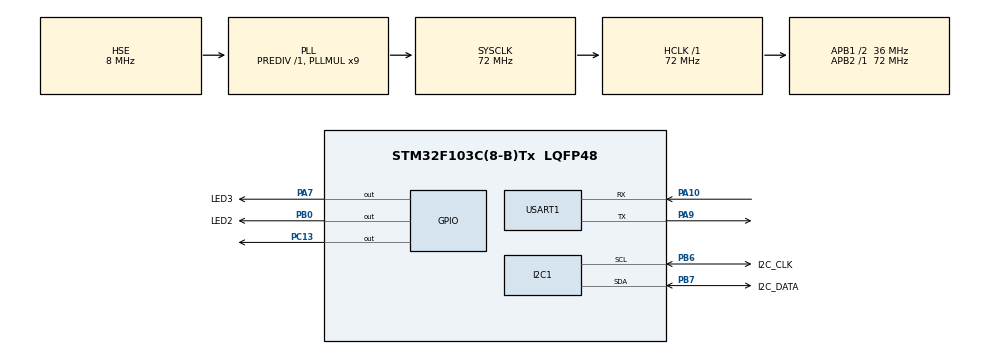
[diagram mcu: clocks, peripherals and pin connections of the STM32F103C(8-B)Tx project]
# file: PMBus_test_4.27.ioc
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Mcu.Family=STM32F1
Mcu.Name=STM32F103C(8-B)Tx
Mcu.Package=LQFP48
NVIC.PriorityGroup=NVIC_PRIORITYGROUP_4
NVIC.USART1_IRQn=true\:0\:0\:false\:false\:true\:true\:true\:true
PA10.Mode=Asynchronous
PA10.Signal=USART1_RX
PA13.Mode=Serial_Wire
PA13.Signal=SYS_JTMS-SWDIO
PA14.Mode=Serial_Wire
PA14.Signal=SYS_JTCK-SWCLK
PA7.GPIO_Label=LED3
PA7.GPIO_Speed=GPIO_SPEED_FREQ_HIGH
PA7.PinState=GPIO_PIN_RESET
PA7.Signal=GPIO_Output
PA9.Mode=Asynchronous
PA9.Signal=USART1_TX
PB0.GPIO_Label=LED2
PB0.GPIO_Speed=GPIO_SPEED_FREQ_HIGH
PB0.Signal=GPIO_Output
PB6.GPIO_Label=I2C_CLK
PB6.Mode=I2C
PB6.Signal=I2C1_SCL
PB7.GPIO_Label=I2C_DATA
PB7.Mode=I2C
PB7.Signal=I2C1_SDA
PC13-TAMPER-RTC.GPIO_Speed=GPIO_SPEED_FREQ_HIGH
PC13-TAMPER-RTC.PinState=GPIO_PIN_RESET
PC13-TAMPER-RTC.Signal=GPIO_Output
PD0-OSC_IN.Mode=HSE-External-Oscillator
PD0-OSC_IN.Signal=RCC_OSC_IN
PD1-OSC_OUT.Mode=HSE-External-Oscillator
PD1-OSC_OUT.Signal=RCC_OSC_OUT
ProjectManager.HeapSize=0x200
ProjectManager.StackSize=0x400
ProjectManager.TargetToolchain=MDK-ARM V5.32
RCC.AHBFreq_Value=72000000
RCC.APB1CLKDivider=RCC_HCLK_DIV2
RCC.APB1Freq_Value=36000000
RCC.APB1TimFreq_Value=72000000
RCC.APB2Freq_Value=72000000
RCC.APB2TimFreq_Value=72000000
RCC.HCLKFreq_Value=72000000
RCC.PLLMUL=RCC_PLL_MUL9
RCC.PLLSourceVirtual=RCC_PLLSOURCE_HSE
RCC.SYSCLKFreq_VALUE=72000000
RCC.SYSCLKSource=RCC_SYSCLKSOURCE_PLLCLK
RCC.USBFreq_Value=72000000
USART1.VirtualMode=VM_ASYNC
board=custom

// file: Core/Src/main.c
/* USER CODE BEGIN Header */
/**
  ******************************************************************************
  * @file           : main.c
  * @brief          : Main program body
  ******************************************************************************
  * @attention
  *
  * Copyright (c) 2025 STMicroelectronics.
  * All rights reserved.
  *
  * This software is licensed under terms that can be found in the LICENSE file
  * in the root directory of this software component.
  * If no LICENSE file comes with this software, it is provided AS-IS.
  *
  ******************************************************************************
  */
/* USER CODE END Header */
#include "main.h"
#include "i2c.h"
#include "usart.h"
#include "gpio.h"

/* USER CODE BEGIN Includes */
#include <stdio.h>
#include <math.h>
#include <string.h>
/* USER CODE END Includes */

/* USER CODE BEGIN PTD */
// 电源数据结构体
typedef struct {
  float voltage;  // 电压(V)
  float current;  // 电流(A)
  float power;    // 功率(W)
  uint8_t valid;  // 数据有效标志
} PowerData_t;
/* USER CODE END PTD */

/* USER CODE BEGIN PD */
#define PMBUS_ADDR 0x60        // PMBus设备地址
#define MAX_RETRIES 3          // 最大重试次数
#define PMBUS_TIMEOUT 100      // 超时时间(ms)

// PMBus标准命令
#define PMBUS_CMD_VOUT_MODE   0x20
#define PMBUS_CMD_READ_VOUT   0x88
#define PMBUS_CMD_READ_IOUT   0x8D
#define PMBUS_CMD_READ_POUT   0x96
/* USER CODE END PD */

/* USER CODE BEGIN PV */
//I2C_HandleTypeDef hi2c1;  // I2C句柄
/* USER CODE END PV */

void SystemClock_Config(void);
/* USER CODE BEGIN PFP */
// 函数声明
int fputc(int ch, FILE *f);
void PMBus_ScanDevices(void);
HAL_StatusTypeDef PMBus_ReadWord(uint8_t devAddr, uint8_t command, uint16_t *data);
float PMBus_ReadVout(uint8_t devAddr);
float PMBus_ReadIout(uint8_t devAddr);
PowerData_t PMBus_ReadPowerData(uint8_t devAddr);
/* USER CODE END PFP */

/* USER CODE BEGIN 0 */
//重定向printf
int fputc(int ch,FILE *f)
{
  uint8_t temp[1]={ch};
  HAL_UART_Transmit(&huart1,temp,1,2);
  return ch;
}

/**
  * @brief  扫描I2C总线上的设备
  */
void PMBus_ScanDevices(void)
{
  uint8_t i, ret;
  printf("I2C Device Scan:\r\n");

  for(i=1; i<128; i++)
  {
    ret = HAL_I2C_IsDeviceReady(&hi2c1, (uint16_t)(i<<1), 3, 5);
    if(ret == HAL_OK)
    {
      printf("Device found at 0x%02X\r\n", i);
    }
  }
}

/**
  * @brief  从PMBus设备读取一个字(16位)
  * @param  devAddr: 设备地址(7位)
  * @param  command: PMBus命令
  * @param  data: 存放读取数据的指针
  * @retval HAL状态
  */
HAL_StatusTypeDef PMBus_ReadWord(uint8_t devAddr, uint8_t command, uint16_t *data)
{
  uint8_t buffer[2];
  HAL_StatusTypeDef status;

  status = HAL_I2C_Master_Transmit(&hi2c1, devAddr << 1, &command, 1, PMBUS_TIMEOUT);
  if(status != HAL_OK)
  return status;

  status = HAL_I2C_Master_Receive(&hi2c1, devAddr << 1, buffer, 2, PMBUS_TIMEOUT);
  if(status == HAL_OK)
  {
    *data = (uint16_t)((buffer[1] << 8) | buffer[0]);
  }
  return status;
}

/**
  * @brief  读取输出电压
  * @param  devAddr: 设备地址(7位)
  * @retval 输出电压(V)，失败返回-1.0
  */
 float PMBus_ReadVout(uint8_t devAddr)
 {
   uint16_t raw;
   uint8_t mode;
   uint8_t retry = MAX_RETRIES;

   while(retry--)
   {
     if(HAL_I2C_Mem_Read(&hi2c1, devAddr << 1, PMBUS_CMD_VOUT_MODE,
                        I2C_MEMADD_SIZE_8BIT, &mode, 1, PMBUS_TIMEOUT) == HAL_OK)
     {
       if(PMBus_ReadWord(devAddr, PMBUS_CMD_READ_VOUT, &raw) == HAL_OK)
       {
         if(mode & 0x40)
         { // 线性格式
           int exponent = (int8_t)(mode & 0x1F) - 24;
           return raw * powf(2.0f, (float)exponent);
         }
       }
     }
     HAL_Delay(10);
   }
   return -1.0f;
 }

/**
  * @brief  读取输出电流
  * @param  devAddr: 设备地址(7位)
  * @retval 输出电流(A)，失败返回-1.0
  */
 float PMBus_ReadIout(uint8_t devAddr)
 {
   uint16_t raw;
   uint8_t mode;
   uint8_t retry = MAX_RETRIES;

   while(retry--)
   {
     if(HAL_I2C_Mem_Read(&hi2c1, devAddr << 1, PMBUS_CMD_VOUT_MODE,
                        I2C_MEMADD_SIZE_8BIT, &mode, 1, PMBUS_TIMEOUT) == HAL_OK)
     {
       if(PMBus_ReadWord(devAddr, PMBUS_CMD_READ_IOUT, &raw) == HAL_OK)
       {
         if(mode & 0x40)
         { // 线性格式
           int exponent = (int8_t)(mode & 0x1F) - 24;
           return raw * powf(2.0f, (float)exponent);
         }
       }
     }
     HAL_Delay(10);
   }
   return -1.0f;
 }

/**
  * @brief  读取完整的电源数据(电压、电流、功率)
  * @param  devAddr: 设备地址(7位)
  * @retval PowerData_t结构体
  */
 PowerData_t PMBus_ReadPowerData(uint8_t devAddr)
 {
   PowerData_t data = {0};
   uint16_t raw;
   uint8_t mode;
   uint8_t retry = MAX_RETRIES;

   // 读取模式
   while(retry--)
   {
     if(HAL_I2C_Mem_Read(&hi2c1, devAddr << 1, PMBUS_CMD_VOUT_MODE,
                        I2C_MEMADD_SIZE_8BIT, &mode, 1, PMBUS_TIMEOUT) == HAL_OK)
     {
       break;
     }
     HAL_Delay(10);
   }
   if(retry == 0) return data;

   // 读取电压
   retry = MAX_RETRIES;
   while(retry--)
   {
     if(PMBus_ReadWord(devAddr, PMBUS_CMD_READ_VOUT, &raw) == HAL_OK)
     {//线性格式
       if(mode & 0x40)
       {
         int exponent = (int8_t)(mode & 0x1F) - 24;
         data.voltage = raw * powf(2.0f, (float)exponent);
         break;
       }
     }
     HAL_Delay(10);
   }

   // 读取电流
   retry = MAX_RETRIES;
   while(retry--)
   {
     if(PMBus_ReadWord(devAddr, PMBUS_CMD_READ_IOUT, &raw) == HAL_OK)
     {
       if(mode & 0x40)
       {//线性格式
         int exponent = (int8_t)(mode & 0x1F) - 24;
         data.current = raw * powf(2.0f, (float)exponent);
         break;
       }
     }
     HAL_Delay(10);
   }

   // 计算功率
   if(data.voltage > 0 && data.current > 0)
    {
     data.power = data.voltage * data.current;
     data.valid = 1;
   }

   return data;
 }
/* USER CODE END 0 */

int main(void)
{

  /* MCU Configuration--------------------------------------------------------*/

  /* Reset of all peripherals, Initializes the Flash interface and the Systick. */
  HAL_Init();

  /* Configure the system clock */
  SystemClock_Config();

  /* Initialize all configured peripherals */
  MX_GPIO_Init();
  MX_I2C1_Init();
  MX_USART1_UART_Init();
  /* USER CODE BEGIN 2 */
  printf("System Initialized\r\n");
  PMBus_ScanDevices();
  /* USER CODE END 2 */

  /* Infinite loop */
  while (1)
  {

    /* USER CODE BEGIN 3 */
    /* 读取电源数据 */
    PowerData_t power = PMBus_ReadPowerData(PMBUS_ADDR);

    if(power.valid)
    {
      printf("V: %.2fV, I: %.3fA, P: %.2fW\r\n", power.voltage, power.current, power.power);
    }
    else
    {
      printf("Power data read failed\r\n");
    }

    /* LED闪烁指示系统运行 ? */
    HAL_GPIO_TogglePin(GPIOC, GPIO_PIN_13);
    HAL_GPIO_TogglePin(LED3_GPIO_Port, LED3_Pin);
    HAL_GPIO_TogglePin(LED2_GPIO_Port, LED2_Pin);

    HAL_Delay(1000);
  }
  /* USER CODE END 3 */
}

void SystemClock_Config(void)
{
  RCC_OscInitTypeDef RCC_OscInitStruct = {0};
  RCC_ClkInitTypeDef RCC_ClkInitStruct = {0};

  /** Initializes the RCC Oscillators according to the specified parameters
  * in the RCC_OscInitTypeDef structure.
  */
  RCC_OscInitStruct.OscillatorType = RCC_OSCILLATORTYPE_HSE;
  RCC_OscInitStruct.HSEState = RCC_HSE_ON;
  RCC_OscInitStruct.HSEPredivValue = RCC_HSE_PREDIV_DIV1;
  RCC_OscInitStruct.HSIState = RCC_HSI_ON;
  RCC_OscInitStruct.PLL.PLLState = RCC_PLL_ON;
  RCC_OscInitStruct.PLL.PLLSource = RCC_PLLSOURCE_HSE;
  RCC_OscInitStruct.PLL.PLLMUL = RCC_PLL_MUL9;
  if (HAL_RCC_OscConfig(&RCC_OscInitStruct) != HAL_OK)
  {
    Error_Handler();
  }

  /** Initializes the CPU, AHB and APB buses clocks
  */
  RCC_ClkInitStruct.ClockType = RCC_CLOCKTYPE_HCLK|RCC_CLOCKTYPE_SYSCLK
                              |RCC_CLOCKTYPE_PCLK1|RCC_CLOCKTYPE_PCLK2;
  RCC_ClkInitStruct.SYSCLKSource = RCC_SYSCLKSOURCE_PLLCLK;
  RCC_ClkInitStruct.AHBCLKDivider = RCC_SYSCLK_DIV1;
  RCC_ClkInitStruct.APB1CLKDivider = RCC_HCLK_DIV2;
  RCC_ClkInitStruct.APB2CLKDivider = RCC_HCLK_DIV1;

  if (HAL_RCC_ClockConfig(&RCC_ClkInitStruct, FLASH_LATENCY_2) != HAL_OK)
  {
    Error_Handler();
  }
}

void Error_Handler(void)
{
  __disable_irq();
  while (1)
  {
  }
}
